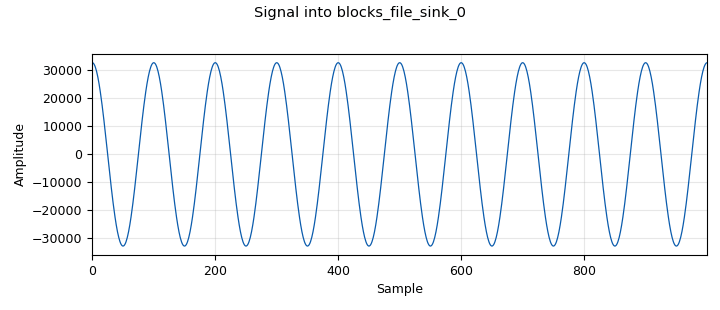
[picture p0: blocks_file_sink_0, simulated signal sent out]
options:
  parameters:
    author: Gilon Kraft
    generate_options: qt_gui
    id: storingBinaryFiles
    output_language: python
    title: Storing_Binary_Files
  states: {}

blocks:
- name: filename
  id: variable
  parameters:
    value: r'C:\Users\Gilon Kraft\Desktop\.git\EEGR4613\Lab2\DSPBlocksbinary_file_' + samp_rate_string + 'Hz_' + timestamp + '.real_int'
  states: {}
- name: samp_rate
  id: variable
  parameters:
    value: '100000'
  states: {}
- name: samp_rate_string
  id: variable
  parameters:
    value: str(int(samp_rate))
  states: {}
- name: timestamp
  id: variable
  parameters:
    value: str(int(time()))
  states: {}
- name: analog_sig_source_x_0
  id: analog_sig_source_x
  parameters:
    amp: '1'
    freq: '1000'
    offset: '0'
    phase: '0'
    samp_rate: samp_rate
    type: float
    waveform: analog.GR_COS_WAVE
  states: {}
- name: blocks_file_sink_0
  id: blocks_file_sink
  parameters:
    append: 'True'
    file: filename
    type: short
  states: {}
- name: blocks_float_to_short_0
  id: blocks_float_to_short
  parameters:
    scale: 2**15
  states: {}
- name: import_0
  id: import
  parameters:
    imports: from time import time
  states: {}

connections:
- [analog_sig_source_x_0, '0', blocks_float_to_short_0, '0']
- [blocks_float_to_short_0, '0', blocks_file_sink_0, '0']

metadata:
  file_format: 1
  grc_version: 3.10.12.0
